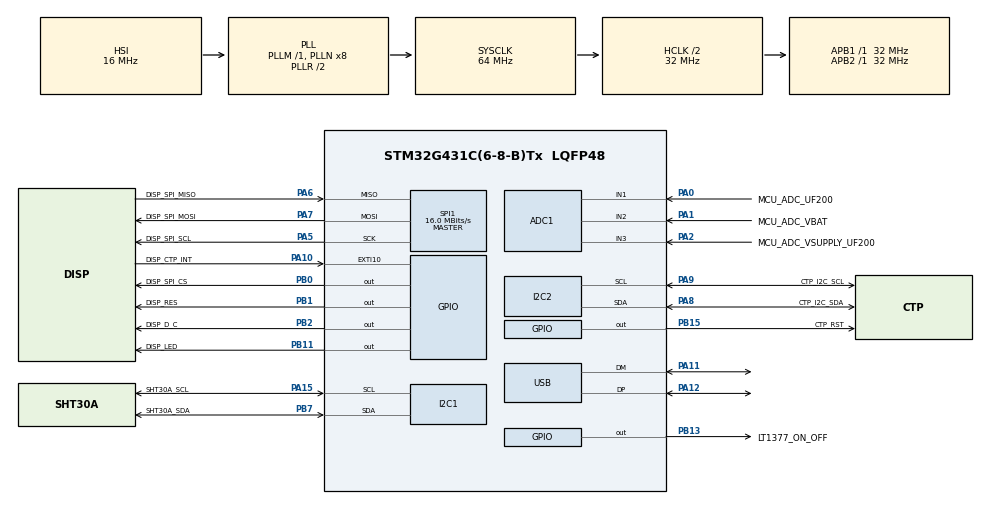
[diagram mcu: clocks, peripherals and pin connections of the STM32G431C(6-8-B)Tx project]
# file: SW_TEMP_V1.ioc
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ADC1.Channel-1\#ChannelRegularConversion=ADC_CHANNEL_1
ADC1.Channel-2\#ChannelRegularConversion=ADC_CHANNEL_2
ADC1.Channel-3\#ChannelRegularConversion=ADC_CHANNEL_3
ADC1.ContinuousConvMode=ENABLE
ADC1.DMAContinuousRequests=ENABLE
ADC1.EnableRegularConversion=ENABLE
ADC1.NbrOfConversion=3
ADC1.NbrOfConversionFlag=1
ADC1.OffsetNumber-1\#ChannelRegularConversion=ADC_OFFSET_NONE
ADC1.OffsetNumber-2\#ChannelRegularConversion=ADC_OFFSET_NONE
ADC1.OffsetNumber-3\#ChannelRegularConversion=ADC_OFFSET_NONE
ADC1.Overrun=ADC_OVR_DATA_OVERWRITTEN
ADC1.OversamplingMode=ENABLE
ADC1.Rank-1\#ChannelRegularConversion=1
ADC1.Rank-2\#ChannelRegularConversion=2
ADC1.Rank-3\#ChannelRegularConversion=3
ADC1.Ratio=ADC_OVERSAMPLING_RATIO_16
ADC1.RightBitShift=ADC_RIGHTBITSHIFT_4
ADC1.SamplingTime-1\#ChannelRegularConversion=ADC_SAMPLETIME_247CYCLES_5
ADC1.SamplingTime-2\#ChannelRegularConversion=ADC_SAMPLETIME_247CYCLES_5
ADC1.SamplingTime-3\#ChannelRegularConversion=ADC_SAMPLETIME_247CYCLES_5
ADC1.master=1
Dma.ADC1.0.Direction=DMA_PERIPH_TO_MEMORY
Dma.ADC1.0.EventEnable=DISABLE
Dma.ADC1.0.Instance=DMA1_Channel1
Dma.ADC1.0.MemDataAlignment=DMA_MDATAALIGN_HALFWORD
Dma.ADC1.0.MemInc=DMA_MINC_ENABLE
Dma.ADC1.0.Mode=DMA_CIRCULAR
Dma.ADC1.0.PeriphDataAlignment=DMA_PDATAALIGN_HALFWORD
Dma.ADC1.0.PeriphInc=DMA_PINC_DISABLE
Dma.ADC1.0.Polarity=HAL_DMAMUX_REQ_GEN_RISING
Dma.ADC1.0.Priority=DMA_PRIORITY_VERY_HIGH
Dma.ADC1.0.RequestNumber=1
Dma.ADC1.0.SignalID=NONE
Dma.ADC1.0.SyncEnable=DISABLE
Dma.ADC1.0.SyncPolarity=HAL_DMAMUX_SYNC_NO_EVENT
Dma.ADC1.0.SyncRequestNumber=1
Dma.ADC1.0.SyncSignalID=NONE
Dma.Request0=ADC1
I2C1.NoStretchMode=I2C_NOSTRETCH_ENABLE
I2C1.Timing=0x00B07CB4
I2C2.Timing=0x00B07CB4
Mcu.Family=STM32G4
Mcu.Name=STM32G431C(6-8-B)Tx
Mcu.Package=LQFP48
NVIC.DMA1_Channel1_IRQn=true\:0\:0\:false\:true\:true\:1\:false\:true\:true
NVIC.EXTI15_10_IRQn=true\:0\:0\:false\:true\:true\:2\:true\:true\:true
NVIC.PriorityGroup=NVIC_PRIORITYGROUP_4
NVIC.USB_LP_IRQn=true\:0\:0\:false\:false\:true\:false\:true\:true
PA0.GPIO_Label=MCU_ADC_UF200
PA0.Mode=IN1-Single-Ended
PA0.Signal=ADC1_IN1
PA1.GPIO_Label=MCU_ADC_VBAT
PA1.Mode=IN2-Single-Ended
PA1.Signal=ADC1_IN2
PA10.GPIO_Label=DISP_CTP_INT
PA10.GPIO_ModeDefaultEXTI=GPIO_MODE_IT_FALLING
PA10.GPIO_PuPd=GPIO_NOPULL
PA10.Signal=GPXTI10
PA11.Mode=Device
PA11.Signal=USB_DM
PA12.Mode=Device
PA12.Signal=USB_DP
PA13.Mode=Serial_Wire
PA13.Signal=SYS_JTMS-SWDIO
PA14.Mode=Serial_Wire
PA14.Signal=SYS_JTCK-SWCLK
PA15.GPIO_Label=SHT30A_SCL
PA15.GPIO_Pu=GPIO_PULLUP
PA15.GPIO_Speed=GPIO_SPEED_FREQ_HIGH
PA15.Mode=I2C
PA15.Signal=I2C1_SCL
PA2.GPIO_Label=MCU_ADC_VSUPPLY_UF200
PA2.Mode=IN3-Single-Ended
PA2.Signal=ADC1_IN3
PA5.GPIO_Label=DISP_SPI_SCL
PA5.GPIO_Speed=GPIO_SPEED_FREQ_HIGH
PA5.Mode=Full_Duplex_Master
PA5.Signal=SPI1_SCK
PA6.GPIO_Label=DISP_SPI_MISO
PA6.GPIO_Speed=GPIO_SPEED_FREQ_HIGH
PA6.Mode=Full_Duplex_Master
PA6.Signal=SPI1_MISO
PA7.GPIO_Label=DISP_SPI_MOSI
PA7.Mode=Full_Duplex_Master
PA7.Signal=SPI1_MOSI
PA8.GPIO_Label=CTP_I2C_SDA
PA8.GPIO_Pu=GPIO_PULLUP
PA8.GPIO_Speed=GPIO_SPEED_FREQ_HIGH
PA8.Mode=I2C
PA8.Signal=I2C2_SDA
PA9.GPIO_Label=CTP_I2C_SCL
PA9.GPIO_Pu=GPIO_PULLUP
PA9.GPIO_Speed=GPIO_SPEED_FREQ_HIGH
PA9.Mode=I2C
PA9.Signal=I2C2_SCL
PB0.GPIO_Label=DISP_SPI_CS
PB0.GPIO_Speed=GPIO_SPEED_FREQ_HIGH
PB0.Signal=GPIO_Output
PB1.GPIO_Label=DISP_RES
PB1.GPIO_Speed=GPIO_SPEED_FREQ_HIGH
PB1.Signal=GPIO_Output
PB11.GPIO_Label=DISP_LED
PB11.GPIO_Speed=GPIO_SPEED_FREQ_HIGH
PB11.Signal=GPIO_Output
PB13.GPIO_Label=LT1377_ON_OFF
PB13.GPIO_Speed=GPIO_SPEED_FREQ_HIGH
PB13.PinState=GPIO_PIN_RESET
PB13.Signal=GPIO_Output
PB15.GPIO_Label=CTP_RST
PB15.GPIO_Speed=GPIO_SPEED_FREQ_HIGH
PB15.Signal=GPIO_Output
PB2.GPIO_Label=DISP_D_C
PB2.GPIO_Speed=GPIO_SPEED_FREQ_HIGH
PB2.Signal=GPIO_Output
PB7.GPIO_Label=SHT30A_SDA
PB7.GPIO_Pu=GPIO_PULLUP
PB7.GPIO_Speed=GPIO_SPEED_FREQ_HIGH
PB7.Mode=I2C
PB7.Signal=I2C1_SDA
PC13.Mode=SYS_WakeUp1
PC13.Signal=SYS_WKUP2
ProjectManager.HeapSize=0x200
ProjectManager.StackSize=0x400
ProjectManager.TargetToolchain=STM32CubeIDE
RCC.ADC12Freq_Value=64000000
RCC.AHBCLKDivider=RCC_SYSCLK_DIV2
RCC.AHBFreq_Value=32000000
RCC.APB1Freq_Value=32000000
RCC.APB1TimFreq_Value=32000000
RCC.APB2Freq_Value=32000000
RCC.APB2TimFreq_Value=32000000
RCC.CK48CLockSelection=RCC_USBCLKSOURCE_HSI48
RCC.CortexFreq_Value=32000000
RCC.EXTERNAL_CLOCK_VALUE=12288000
RCC.HCLKFreq_Value=32000000
RCC.HSE_VALUE=8000000
RCC.HSI48_VALUE=48000000
RCC.HSI_VALUE=16000000
RCC.LSE_VALUE=32768
RCC.SYSCLKFreq_VALUE=64000000
RCC.SYSCLKSource=RCC_SYSCLKSOURCE_PLLCLK
RCC.USBFreq_Value=48000000
RCC.VCOOutputFreq_Value=128000000
SPI1.CalculateBaudRate=16.0 MBits/s
SPI1.DataSize=SPI_DATASIZE_8BIT
SPI1.Direction=SPI_DIRECTION_2LINES
SPI1.Mode=SPI_MODE_MASTER
SPI1.VirtualType=VM_MASTER
SYS.VoltageScaling=SYSCFG_VREFBUF_VOLTAGE_SCALE1
USB_DEVICE.CLASS_NAME_FS=CDC
USB_DEVICE.VirtualMode=Cdc
USB_DEVICE.VirtualModeFS=Cdc_FS
VP_SYS_VS_DBSignals.Mode=DisableDeadBatterySignals
VP_USB_DEVICE_VS_USB_DEVICE_CDC_FS.Mode=CDC_FS
VREF+.Mode=InternalMode
VREF+.Signal=VREFBUF_OUT
board=custom

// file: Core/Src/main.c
/* USER CODE BEGIN Header */
/*------------------------------------------------------------------------------
Project information's:
        Project:    Temp_Measuring_SW_IPA_V1
        Author:     SPY
        Date:       21.10.2024
        IDE:        STM32CubeIDE 1.14.0
        Version:    1.0
------------------------------------------------------------------------------*/
/* USER CODE END Header */
#include "main.h"
#include "usb_device.h"

/* USER CODE BEGIN Includes */
#include <math.h>               /* for pow() */
#include "sht3x.h"              /* for external temperature sensor */
#include "ili9341.h"            /* for display */
#include "FT6236.h"             /* for touch panel */
#include "stdio.h"              /* for sprintf() */
/* USER CODE END Includes */

/* USER CODE BEGIN PTD */
typedef enum menu_temp_measuring {
    START_MENU,
    HOME_MENU,
    TEMP_MENU,
    TEMP_UF200,
    TEMP_SHT30,
    VOLTAGE_MENU,
    SETTINGS_MENU
}Menu_TempMeasuring_TypeDef;

/* USER CODE END PTD */

/* USER CODE BEGIN PD */
/* ----------------------- ADC -------------------------------- */
#define ADC_NR_OF_CHANNELS              3
#define ADC_NR_OF_CAPTURED_VALUES       10
#define ADC_BUFFER_SIZE                 (ADC_NR_OF_CHANNELS * ADC_NR_OF_CAPTURED_VALUES)
#define ADC_VREF                        2.5
#define ADC_MAX_NR                      4096

/* ----------------------- SUPPLY_UF200 ----------------------- */
#define SUPPLY_UF200_ON                 HAL_GPIO_WritePin(LT1377_ON_OFF_GPIO_Port, LT1377_ON_OFF_Pin, SET); HAL_Delay(1);
#define SUPPLY_UF200_OFF                HAL_GPIO_WritePin(LT1377_ON_OFF_GPIO_Port, LT1377_ON_OFF_Pin, RESET); HAL_Delay(1);
#define STATE_LT1377                    HAL_GPIO_ReadPin(LT1377_ON_OFF_GPIO_Port, LT1377_ON_OFF_Pin)

/* ----------------------- STANDBY_MODE ----------------------- */
#define ENTER_STANDBY_MODE              HAL_PWR_EnterSTANDBYMode();

/* ----------------------- DISPLAY --------------------------- */
#define DISPLAY_BACKLIGHT_ON            HAL_GPIO_WritePin(DISP_LED_GPIO_Port, DISP_LED_Pin, SET); HAL_Delay(1);
#define DISPLAY_BACKLIGHT_OFF           HAL_GPIO_WritePin(DISP_LED_GPIO_Port, DISP_LED_Pin, RESET); HAL_Delay(1);

/* ----------------------- VOLTAGE TO DISTANCE ---------------- */
#define DISTANCE_FUNC(voltage)          (1.52204 * voltage + 118.90031)

/* ----------------------- TOUCH AREAs ------------------------ */
/* --------- HOME --------- */
#define BUTTON_TEMP_TOUCHED             (20 < ctp_touch.x1 && ctp_touch.x1 < 220 && 70 < ctp_touch.y1 && ctp_touch.y1 < 120)
#define BUTTON_VOLTAGE_TOUCHED          (20 < ctp_touch.x1 && ctp_touch.x1 < 220 && 135 < ctp_touch.y1 && ctp_touch.y1 < 185)
#define BUTTON_SETTINGS_TOUCHED         (20 < ctp_touch.x1 && ctp_touch.x1 < 220 && 200 < ctp_touch.y1 && ctp_touch.y1 < 250)
/* --------- TEMP --------- */
#define BUTTON_UF200_TOUCHED            (60 < ctp_touch.x1 && ctp_touch.x1 < 180 && 80 < ctp_touch.y1 && ctp_touch.y1 < 140)
#define BUTTON_SHT30_TOUCHED            (60 < ctp_touch.x1 && ctp_touch.x1 < 180 && 170 < ctp_touch.y1 && ctp_touch.y1 < 230)
/* ------- SETTINGS ------- */
#define BUTTON_LT1377_TOUCHED           (60 < ctp_touch.x1 && ctp_touch.x1 < 180 && 80 < ctp_touch.y1 && ctp_touch.y1 < 140)
#define BUTTON_STANDBY_TOUCHED          (60 < ctp_touch.x1 && ctp_touch.x1 < 180 && 170 < ctp_touch.y1 && ctp_touch.y1 < 230)
/* --------- EXIT --------- */
#define BUTTON_EXIT_TOUCHED             (80 < ctp_touch.x1 && ctp_touch.x1 < 160 && 270 < ctp_touch.y1 && ctp_touch.y1 < 310)

/* USER CODE END PD */

ADC_HandleTypeDef hadc1;
DMA_HandleTypeDef hdma_adc1;

I2C_HandleTypeDef hi2c1;
I2C_HandleTypeDef hi2c2;

SPI_HandleTypeDef hspi1;

/* USER CODE BEGIN PV */
sht3x_handle_t handle = {
    .i2c_handle = &hi2c1,
    .device_address = SHT3X_I2C_DEVICE_ADDRESS_ADDR_PIN_LOW
};

/* ---------- ADC1 ---------- */
volatile uint16_t adc1_measurement[ADC_BUFFER_SIZE];

/* -------- Voltages -------- */
volatile float volt_uf200;
volatile float volt_vbat;
volatile float volt_supply_uf200;

/* ------- Distance --------- */
volatile float distance_uf200;

/* ------ Temperatures ------ */
volatile float temp_uf200;
float temp_sht30a;
float humidity_sht30a;

/* ---------- ENUM ---------- */
enum ADC1_ARRAY {
    ADC_UF200 = 0,
    ADC_VBAT = 1,
    ADC_SUPPLY_UF200 = 2,
    ADC_TEMP = 3
};

enum STRING_ARRAY {
    TEMP_UF200_STRING = 0,
    TEMP_SHT30_STRING = 1,
    HUMITY_SHT30_STRING = 2
};

/* ------ String --------- */
char voltage_Data_String[3][16] = {};
char temp_Data_String[3][16] = {};

/* USER CODE END PV */

void SystemClock_Config(void);
static void MX_GPIO_Init(void);
static void MX_DMA_Init(void);
static void MX_I2C1_Init(void);
static void MX_ADC1_Init(void);
static void MX_I2C2_Init(void);
static void MX_SPI1_Init(void);
static void MX_NVIC_Init(void);
/* USER CODE BEGIN PFP */
/* ------ format functions ------ */
volatile void format_voltage_value(float value, const char* unit, char* formatted_string, size_t size);
volatile void format_temp_value(float value, const char* unit, char* formatted_string, size_t size);
/* ------ display functions ------ */
void Dispaly_EXIT_BUTTON();
void Dispaly_HOME_MENU();
void Dispaly_TEMP_MENU();
void Dispaly_UF200_MENU();
void Dispaly_SHT30_MENU();
void Dispaly_VOLTAGE_MENU();
void Dispaly_SETTINGS_MENU();
/* ------ update functions ------ */
void Update_Dispaly_UF200_MENU();
void Update_Dispaly_SHT30_MENU();
void Update_Dispaly_VOLTAGE_MENU();
/* ------ toggle functions ------ */
void TOGGLE_LT1377();
/* ------ calculate functions ------ */
volatile float calculate_polynomial(float x);
/* USER CODE END PFP */

/* USER CODE BEGIN 0 */
volatile float calculate_temp(float x) {
    float x2 = x * x;         // x^2
    float x3 = x2 * x;        // x^3
    float x4 = x3 * x;        // x^4

    return 0.0000393460875 * x4
           - 0.023479315484 * x3
           + 5.2439117826509 * x2
           - 523.030559479747 * x
           + 19723.208350605753;
}

void HAL_ADC_ConvCpltCallback(ADC_HandleTypeDef* hadc) {
    if (hadc->Instance == ADC1) {
        /* -------------------- Channel 1 MCU_ADC_UF200 -------------------- */
        /* calculate the average of the captured values */
        for (int i = 1; i < ADC_NR_OF_CAPTURED_VALUES; ++i) {
            adc1_measurement[ADC_UF200] += adc1_measurement[i * 3];
        }
        adc1_measurement[ADC_UF200] /= ADC_NR_OF_CAPTURED_VALUES;

        /* convert digital value to voltage value */
        volt_uf200 = ADC_VREF * 4.0669456 * adc1_measurement[ADC_UF200] / ADC_MAX_NR * 1.089230769;
        volt_uf200 = 0.0003 * (volt_uf200*volt_uf200) + 0.9009 * (volt_uf200) + 0.145;
        /* ----------------------------------------------------------------- */

        /* ---------------------- Distance calculation --------------------- */
        distance_uf200 = DISTANCE_FUNC(volt_uf200);
        /* ----------------------------------------------------------------- */

        /* -------------------- Temperature calculation -------------------- */
        temp_uf200 = calculate_temp(distance_uf200);
        /* ----------------------------------------------------------------- */

        /* -------------------- Channel 2 MCU_ADC_VBAT --------------------- */
        /* calculate the average of the captured values */
        for (int i = 1; i < ADC_NR_OF_CAPTURED_VALUES; ++i) {
            adc1_measurement[ADC_VBAT] += adc1_measurement[i * 3 + 1];
        }
        adc1_measurement[ADC_VBAT] /= ADC_NR_OF_CAPTURED_VALUES;

        /* convert digital value to voltage value */
        volt_vbat = ADC_VREF * 1.4202773 * adc1_measurement[ADC_VBAT] / ADC_MAX_NR * 1.0039816;
        /* ----------------------------------------------------------------- */

        /* -------------------- Channel 3  MCU_SUPPLY_UF200 ---------------- */
        /* calculate the average of the captured values */
        for (int i = 1; i < ADC_NR_OF_CAPTURED_VALUES; ++i) {
            adc1_measurement[ADC_SUPPLY_UF200] += adc1_measurement[i * 3 + 2];
        }
        adc1_measurement[ADC_SUPPLY_UF200] /= ADC_NR_OF_CAPTURED_VALUES;

        /* convert digital value to voltage value */
        volt_supply_uf200 = ADC_VREF * 6.0570739 * adc1_measurement[ADC_SUPPLY_UF200] / ADC_MAX_NR * 1.0035293;
        /* ----------------------------------------------------------------- */

    }
}
/* USER CODE END 0 */

int main(void)
{

  /* MCU Configuration--------------------------------------------------------*/

  /* Reset of all peripherals, Initializes the Flash interface and the Systick. */
  HAL_Init();

  /* Configure the system clock */
  SystemClock_Config();

  /* Initialize all configured peripherals */
  MX_GPIO_Init();
  MX_DMA_Init();
  MX_I2C1_Init();
  MX_ADC1_Init();
  MX_I2C2_Init();
  MX_SPI1_Init();
  MX_USB_Device_Init();

  /* Initialize interrupts */
  MX_NVIC_Init();
  /* USER CODE BEGIN 2 */

  /* ------------- create & declare menu_of_device ------------ */
  Menu_TempMeasuring_TypeDef menu_of_device = HOME_MENU;

  /* ------------------- initialize display ------------------- */
  DISPLAY_BACKLIGHT_OFF
  ILI9341_Init();
  ILI9341_InvertColors(1);
  DISPLAY_BACKLIGHT_ON

  /* ----------------- initialize touch panel ----------------- */
  ft6236_init();

  /* -------------------- turn on LT1377 -------------------- */
  TOGGLE_LT1377();

  /* ------------------- draw home menu ------------------- */
  ILI9341_FillRectangle(0, 0, 240, 320, ILI9341_BLACK);
  ILI9341_FillRectangle(0, 58, 240, 3, ILI9341_WHITE);
  Dispaly_HOME_MENU();

  /* ----------------- start DMA conversion ----------------- */
  HAL_ADC_Start_DMA(&hadc1, (uint32_t*)adc1_measurement, ADC_BUFFER_SIZE);

  /* -------------- initialize temperature sensor ------------- */
  if (!sht3x_init(&handle)) {
  }

  sht3x_set_header_enable(&handle, false);

  /* USER CODE END 2 */

  /* Infinite loop */
  while (1)
  {

    /* USER CODE BEGIN 3 */
     /* read touch panel */
      if(!ctp_touch.ok) {

                ctp_touch.x1 = 0;
                ctp_touch.y1 = 0;
                ft6236_read();
      }
    /* read temperature and humidity */
      sht3x_read_temperature_and_humidity(&handle, &temp_sht30a, &humidity_sht30a);

    /* menu navigation */
      switch (menu_of_device) {
        case START_MENU:

            if(ctp_touch.x1 > 0 && ctp_touch.y1 > 0 ) {
                Dispaly_HOME_MENU();
                menu_of_device = HOME_MENU;
            }

            break;

        case HOME_MENU:

            /* SETTINGS-MENU */
            if(BUTTON_SETTINGS_TOUCHED) {
                Dispaly_SETTINGS_MENU();
                menu_of_device = SETTINGS_MENU;
            }

            /* TEMP-MENU */
            if(BUTTON_TEMP_TOUCHED) {
                Dispaly_TEMP_MENU();
                menu_of_device = TEMP_MENU;
            }

            /* VOLTAGE-MENU */
            if(BUTTON_VOLTAGE_TOUCHED) {
                Dispaly_VOLTAGE_MENU();
                menu_of_device = VOLTAGE_MENU;
            }

            break;

        case SETTINGS_MENU:
            /* LT1377 ON/OFF */
            if(BUTTON_LT1377_TOUCHED) {
                TOGGLE_LT1377();
            }

            /* Exit / back to HOME */
            if(BUTTON_EXIT_TOUCHED) {
                Dispaly_HOME_MENU();
                menu_of_device = HOME_MENU;
            }

            /* if(BUTTON_STANDBY_TOUCHED) {
                __HAL_PWR_CLEAR_FLAG(PWR_FLAG_WU);
                __HAL_PWR_CLEAR_FLAG(PWR_FLAG_SB);
                HAL_PWREx_EnableGPIOPullUp(PWR_GPIO_A, GPIO_PIN_10);
                HAL_PWREx_EnableGPIOPullUp(PWR_GPIO_A, GPIO_PIN_9);
                HAL_PWREx_EnableGPIOPullUp(PWR_GPIO_A, GPIO_PIN_8);
                HAL_PWREx_EnablePullUpPullDownConfig();
                HAL_PWR_EnableWakeUpPin(PWR_WAKEUP_PIN2_LOW);
                HAL_PWR_EnterSTANDBYMode();
            } */
            break;

        case TEMP_MENU:
            /* switch to TEMP_UF200 */
            if(BUTTON_UF200_TOUCHED) {
                Dispaly_UF200_MENU();
                menu_of_device = TEMP_UF200;
            }

            /* switch to TEMP_SHT30 */
            if(BUTTON_SHT30_TOUCHED) {
                Dispaly_SHT30_MENU();
                menu_of_device = TEMP_SHT30;
            }

            /* Exit / back to HOME */
            if(BUTTON_EXIT_TOUCHED) {
                Dispaly_HOME_MENU();
                menu_of_device = HOME_MENU;
            }

            break;

        case TEMP_UF200:
            /* update display */
            Update_Dispaly_UF200_MENU();

            /* Exit / back to HOME */
            if(BUTTON_EXIT_TOUCHED) {
                Dispaly_HOME_MENU();
                menu_of_device = HOME_MENU;
            }

            break;

        case TEMP_SHT30:
            /* update display */
            Update_Dispaly_SHT30_MENU();

            /* Exit / back to HOME */
            if(BUTTON_EXIT_TOUCHED) {
                Dispaly_HOME_MENU();
                menu_of_device = HOME_MENU;
            }

            break;

        case VOLTAGE_MENU:
            /* update display */
            Update_Dispaly_VOLTAGE_MENU();

            /* Exit / back to HOME */
            if(BUTTON_EXIT_TOUCHED) {
                Dispaly_HOME_MENU();
                menu_of_device = HOME_MENU;
            }

            break;
        default:
            break;
    }

  }
  /* USER CODE END 3 */
}

void SystemClock_Config(void)
{
  RCC_OscInitTypeDef RCC_OscInitStruct = {0};
  RCC_ClkInitTypeDef RCC_ClkInitStruct = {0};

  /** Configure the main internal regulator output voltage
  */
  HAL_PWREx_ControlVoltageScaling(PWR_REGULATOR_VOLTAGE_SCALE1);

  /** Initializes the RCC Oscillators according to the specified parameters
  * in the RCC_OscInitTypeDef structure.
  */
  RCC_OscInitStruct.OscillatorType = RCC_OSCILLATORTYPE_HSI|RCC_OSCILLATORTYPE_HSI48;
  RCC_OscInitStruct.HSIState = RCC_HSI_ON;
  RCC_OscInitStruct.HSICalibrationValue = RCC_HSICALIBRATION_DEFAULT;
  RCC_OscInitStruct.HSI48State = RCC_HSI48_ON;
  RCC_OscInitStruct.PLL.PLLState = RCC_PLL_ON;
  RCC_OscInitStruct.PLL.PLLSource = RCC_PLLSOURCE_HSI;
  RCC_OscInitStruct.PLL.PLLM = RCC_PLLM_DIV1;
  RCC_OscInitStruct.PLL.PLLN = 8;
  RCC_OscInitStruct.PLL.PLLP = RCC_PLLP_DIV2;
  RCC_OscInitStruct.PLL.PLLQ = RCC_PLLQ_DIV2;
  RCC_OscInitStruct.PLL.PLLR = RCC_PLLR_DIV2;
  if (HAL_RCC_OscConfig(&RCC_OscInitStruct) != HAL_OK)
  {
    Error_Handler();
  }

  /** Initializes the CPU, AHB and APB buses clocks
  */
  RCC_ClkInitStruct.ClockType = RCC_CLOCKTYPE_HCLK|RCC_CLOCKTYPE_SYSCLK
                              |RCC_CLOCKTYPE_PCLK1|RCC_CLOCKTYPE_PCLK2;
  RCC_ClkInitStruct.SYSCLKSource = RCC_SYSCLKSOURCE_PLLCLK;
  RCC_ClkInitStruct.AHBCLKDivider = RCC_SYSCLK_DIV2;
  RCC_ClkInitStruct.APB1CLKDivider = RCC_HCLK_DIV1;
  RCC_ClkInitStruct.APB2CLKDivider = RCC_HCLK_DIV1;

  if (HAL_RCC_ClockConfig(&RCC_ClkInitStruct, FLASH_LATENCY_1) != HAL_OK)
  {
    Error_Handler();
  }
}

/**
  * @brief NVIC Configuration.
  * @retval None
  */
static void MX_NVIC_Init(void)
{
  /* DMA1_Channel1_IRQn interrupt configuration */
  HAL_NVIC_SetPriority(DMA1_Channel1_IRQn, 0, 0);
  HAL_NVIC_EnableIRQ(DMA1_Channel1_IRQn);
  /* EXTI15_10_IRQn interrupt configuration */
  HAL_NVIC_SetPriority(EXTI15_10_IRQn, 0, 0);
  HAL_NVIC_EnableIRQ(EXTI15_10_IRQn);
}

static void MX_ADC1_Init(void)
{

  ADC_MultiModeTypeDef multimode = {0};
  ADC_ChannelConfTypeDef sConfig = {0};

  /** Common config
  */
  hadc1.Instance = ADC1;
  hadc1.Init.ClockPrescaler = ADC_CLOCK_SYNC_PCLK_DIV2;
  hadc1.Init.Resolution = ADC_RESOLUTION_12B;
  hadc1.Init.DataAlign = ADC_DATAALIGN_RIGHT;
  hadc1.Init.GainCompensation = 0;
  hadc1.Init.ScanConvMode = ADC_SCAN_ENABLE;
  hadc1.Init.EOCSelection = ADC_EOC_SINGLE_CONV;
  hadc1.Init.LowPowerAutoWait = DISABLE;
  hadc1.Init.ContinuousConvMode = ENABLE;
  hadc1.Init.NbrOfConversion = 3;
  hadc1.Init.DiscontinuousConvMode = DISABLE;
  hadc1.Init.ExternalTrigConv = ADC_SOFTWARE_START;
  hadc1.Init.ExternalTrigConvEdge = ADC_EXTERNALTRIGCONVEDGE_NONE;
  hadc1.Init.DMAContinuousRequests = ENABLE;
  hadc1.Init.Overrun = ADC_OVR_DATA_OVERWRITTEN;
  hadc1.Init.OversamplingMode = ENABLE;
  hadc1.Init.Oversampling.Ratio = ADC_OVERSAMPLING_RATIO_16;
  hadc1.Init.Oversampling.RightBitShift = ADC_RIGHTBITSHIFT_4;
  hadc1.Init.Oversampling.TriggeredMode = ADC_TRIGGEREDMODE_SINGLE_TRIGGER;
  hadc1.Init.Oversampling.OversamplingStopReset = ADC_REGOVERSAMPLING_CONTINUED_MODE;
  if (HAL_ADC_Init(&hadc1) != HAL_OK)
  {
    Error_Handler();
  }

  /** Configure the ADC multi-mode
  */
  multimode.Mode = ADC_MODE_INDEPENDENT;
  if (HAL_ADCEx_MultiModeConfigChannel(&hadc1, &multimode) != HAL_OK)
  {
    Error_Handler();
  }

  /** Configure Regular Channel
  */
  sConfig.Channel = ADC_CHANNEL_1;
  sConfig.Rank = ADC_REGULAR_RANK_1;
  sConfig.SamplingTime = ADC_SAMPLETIME_247CYCLES_5;
  sConfig.SingleDiff = ADC_SINGLE_ENDED;
  sConfig.OffsetNumber = ADC_OFFSET_NONE;
  sConfig.Offset = 0;
  if (HAL_ADC_ConfigChannel(&hadc1, &sConfig) != HAL_OK)
  {
    Error_Handler();
  }

  /** Configure Regular Channel
  */
  sConfig.Channel = ADC_CHANNEL_2;
  sConfig.Rank = ADC_REGULAR_RANK_2;
  if (HAL_ADC_ConfigChannel(&hadc1, &sConfig) != HAL_OK)
  {
    Error_Handler();
  }

  /** Configure Regular Channel
  */
  sConfig.Channel = ADC_CHANNEL_3;
  sConfig.Rank = ADC_REGULAR_RANK_3;
  if (HAL_ADC_ConfigChannel(&hadc1, &sConfig) != HAL_OK)
  {
    Error_Handler();
  }

}

static void MX_I2C1_Init(void)
{

  hi2c1.Instance = I2C1;
  hi2c1.Init.Timing = 0x00B07CB4;
  hi2c1.Init.OwnAddress1 = 0;
  hi2c1.Init.AddressingMode = I2C_ADDRESSINGMODE_7BIT;
  hi2c1.Init.DualAddressMode = I2C_DUALADDRESS_DISABLE;
  hi2c1.Init.OwnAddress2 = 0;
  hi2c1.Init.OwnAddress2Masks = I2C_OA2_NOMASK;
  hi2c1.Init.GeneralCallMode = I2C_GENERALCALL_DISABLE;
  hi2c1.Init.NoStretchMode = I2C_NOSTRETCH_ENABLE;
  if (HAL_I2C_Init(&hi2c1) != HAL_OK)
  {
    Error_Handler();
  }

  /** Configure Analogue filter
  */
  if (HAL_I2CEx_ConfigAnalogFilter(&hi2c1, I2C_ANALOGFILTER_ENABLE) != HAL_OK)
  {
    Error_Handler();
  }

  /** Configure Digital filter
  */
  if (HAL_I2CEx_ConfigDigitalFilter(&hi2c1, 0) != HAL_OK)
  {
    Error_Handler();
  }

}

static void MX_I2C2_Init(void)
{

  hi2c2.Instance = I2C2;
  hi2c2.Init.Timing = 0x00B07CB4;
  hi2c2.Init.OwnAddress1 = 0;
  hi2c2.Init.AddressingMode = I2C_ADDRESSINGMODE_7BIT;
  hi2c2.Init.DualAddressMode = I2C_DUALADDRESS_DISABLE;
  hi2c2.Init.OwnAddress2 = 0;
  hi2c2.Init.OwnAddress2Masks = I2C_OA2_NOMASK;
  hi2c2.Init.GeneralCallMode = I2C_GENERALCALL_DISABLE;
  hi2c2.Init.NoStretchMode = I2C_NOSTRETCH_DISABLE;
  if (HAL_I2C_Init(&hi2c2) != HAL_OK)
  {
    Error_Handler();
  }

  /** Configure Analogue filter
  */
  if (HAL_I2CEx_ConfigAnalogFilter(&hi2c2, I2C_ANALOGFILTER_ENABLE) != HAL_OK)
  {
    Error_Handler();
  }

  /** Configure Digital filter
  */
  if (HAL_I2CEx_ConfigDigitalFilter(&hi2c2, 0) != HAL_OK)
  {
    Error_Handler();
  }

}

static void MX_SPI1_Init(void)
{

  /* SPI1 parameter configuration*/
  hspi1.Instance = SPI1;
  hspi1.Init.Mode = SPI_MODE_MASTER;
  hspi1.Init.Direction = SPI_DIRECTION_2LINES;
  hspi1.Init.DataSize = SPI_DATASIZE_8BIT;
  hspi1.Init.CLKPolarity = SPI_POLARITY_LOW;
  hspi1.Init.CLKPhase = SPI_PHASE_1EDGE;
  hspi1.Init.NSS = SPI_NSS_SOFT;
  hspi1.Init.BaudRatePrescaler = SPI_BAUDRATEPRESCALER_2;
  hspi1.Init.FirstBit = SPI_FIRSTBIT_MSB;
  hspi1.Init.TIMode = SPI_TIMODE_DISABLE;
  hspi1.Init.CRCCalculation = SPI_CRCCALCULATION_DISABLE;
  hspi1.Init.CRCPolynomial = 7;
  hspi1.Init.CRCLength = SPI_CRC_LENGTH_DATASIZE;
  hspi1.Init.NSSPMode = SPI_NSS_PULSE_ENABLE;
  if (HAL_SPI_Init(&hspi1) != HAL_OK)
  {
    Error_Handler();
  }

}

static void MX_DMA_Init(void)
{

  /* DMA controller clock enable */
  __HAL_RCC_DMAMUX1_CLK_ENABLE();
  __HAL_RCC_DMA1_CLK_ENABLE();

}

static void MX_GPIO_Init(void)
{
  GPIO_InitTypeDef GPIO_InitStruct = {0};

  /* GPIO Ports Clock Enable */
  __HAL_RCC_GPIOC_CLK_ENABLE();
  __HAL_RCC_GPIOA_CLK_ENABLE();
  __HAL_RCC_GPIOB_CLK_ENABLE();

  /*Configure GPIO pin Output Level */
  HAL_GPIO_WritePin(GPIOB, DISP_SPI_CS_Pin|DISP_RES_Pin|DISP_D_C_Pin|DISP_LED_Pin
                          |LT1377_ON_OFF_Pin|CTP_RST_Pin, GPIO_PIN_RESET);

  /*Configure GPIO pins : DISP_SPI_CS_Pin DISP_RES_Pin DISP_D_C_Pin DISP_LED_Pin
                           LT1377_ON_OFF_Pin CTP_RST_Pin */
  GPIO_InitStruct.Pin = DISP_SPI_CS_Pin|DISP_RES_Pin|DISP_D_C_Pin|DISP_LED_Pin
                          |LT1377_ON_OFF_Pin|CTP_RST_Pin;
  GPIO_InitStruct.Mode = GPIO_MODE_OUTPUT_PP;
  GPIO_InitStruct.Pull = GPIO_NOPULL;
  GPIO_InitStruct.Speed = GPIO_SPEED_FREQ_HIGH;
  HAL_GPIO_Init(GPIOB, &GPIO_InitStruct);

  /*Configure GPIO pin : DISP_CTP_INT_Pin */
  GPIO_InitStruct.Pin = DISP_CTP_INT_Pin;
  GPIO_InitStruct.Mode = GPIO_MODE_IT_FALLING;
  GPIO_InitStruct.Pull = GPIO_NOPULL;
  HAL_GPIO_Init(DISP_CTP_INT_GPIO_Port, &GPIO_InitStruct);

}

/* USER CODE BEGIN 4 */

/*------------------------------------------------------------------------------
Function name:  format_voltage_value
Input:          float value, const char* unit, char* formatted_string, size_t size
Output:         void
Author:         SPY
Date:           21.11.2024
Version:        1.0
Function description:
This function formats the voltage value to a string.
The value is rounded to 3 decimal places.
The unit is added to the end of the string.
-------------------------------------------------------------------------------*/
volatile void format_voltage_value(float value, const char* unit, char* formatted_string, size_t size) {
    if (value  < 10) {
        snprintf(formatted_string, size, " %2.3f %s", value, unit); // @suppress("Float formatting support")
    } else {
        snprintf(formatted_string, size, "%2.3f %s", value, unit); // @suppress("Float formatting support")
    }
}

/*------------------------------------------------------------------------------
Function name:  format_temp_value
Input:          float value, const char* unit, char* formatted_string, size_t size
Output:         void
Author:         SPY
Date:           21.11.2024
Version:        1.0
Function description:
This function formats the temperature value to a string.
The value is rounded to 2 decimal places.
The unit is added to the end of the string.
-------------------------------------------------------------------------------*/
volatile void format_temp_value(float value, const char* unit, char* formatted_string, size_t size) {
    if (value  < 10 && value  >= 0) {
        snprintf(formatted_string, size, "  %2.2f %s", value, unit); // @suppress("Float formatting support")
    } else if (value > 0) {
        snprintf(formatted_string, size, " %2.2f %s", value, unit); // @suppress("Float formatting support")
    } else {
        snprintf(formatted_string, size, "%2.2f %s", value, unit); // @suppress("Float formatting support")
    }
}

/*------------------------------------------------------------------------------
Function name:  Dispaly_EXIT_BUTTON
Input:          void
Output:         void
Author:         SPY
Date:           21.11.2024
Version:        1.0
Function description:
This function displays the EXIT button on the display.
-------------------------------------------------------------------------------*/
void Dispaly_EXIT_BUTTON() {
    ILI9341_FillRectangle(80, 270, 80, 40,ILI9341_COLOR565(77,77,77));
    ILI9341_WriteString(98, 281, "EXIT", Font_11x18, ILI9341_WHITE, ILI9341_COLOR565(77,77,77));

}

/*------------------------------------------------------------------------------
Function name:  Dispaly_HOME_MENU
Input:          void
Output:         void
Author:         SPY
Date:           21.11.2024
Version:        1.0
Function description:
This function displays the HOME menu on the display.
-------------------------------------------------------------------------------*/
void Dispaly_HOME_MENU() {
    ILI9341_FillRectangle(20, 10, 220, 40, ILI9341_BLACK);
    ILI9341_WriteString(98, 20, "HOME", Font_11x18, ILI9341_WHITE, ILI9341_BLACK);
    ILI9341_FillRectangle(20, 70, 200, 50, ILI9341_COLOR565(77,77,77));
    ILI9341_FillRectangle(20, 120, 200, 15, ILI9341_BLACK);
    ILI9341_FillRectangle(20, 135, 200, 50, ILI9341_COLOR565(77,77,77));
    ILI9341_FillRectangle(20, 185, 200, 15, ILI9341_BLACK);
    ILI9341_FillRectangle(20, 200, 200, 50, ILI9341_COLOR565(77,77,77));
    ILI9341_FillRectangle(20, 250, 200, 65, ILI9341_BLACK);
    ILI9341_WriteString(60, 86, "Temperature", Font_11x18, ILI9341_WHITE, ILI9341_COLOR565(77,77,77));
    ILI9341_WriteString(80, 151, "Voltage", Font_11x18, ILI9341_WHITE, ILI9341_COLOR565(77,77,77));
    ILI9341_WriteString(80, 216, "Settings", Font_11x18, ILI9341_WHITE, ILI9341_COLOR565(77,77,77));
}

/*------------------------------------------------------------------------------
Function name:  Dispaly_TEMP_MENU
Input:          void
Output:         void
Author:         SPY
Date:           21.11.2024
Version:        1.0
Function description:
This function displays the TEMP menu on the display, where the user can choose between UF200 and SHT30.
-------------------------------------------------------------------------------*/
void Dispaly_TEMP_MENU() {
    ILI9341_FillRectangle(20, 10, 220, 40, ILI9341_BLACK);
    ILI9341_WriteString(60, 20, "Temperature", Font_11x18, ILI9341_WHITE, ILI9341_BLACK);
    ILI9341_FillRectangle(19, 69, 202, 182, ILI9341_BLACK);
    ILI9341_FillRectangle(60, 80, 120, 60, ILI9341_COLOR565(77,77,77));
    ILI9341_WriteString(93, 101, "UF200", Font_11x18, ILI9341_WHITE, ILI9341_COLOR565(77,77,77));
    ILI9341_FillRectangle(60, 170, 120, 60, ILI9341_COLOR565(77,77,77));
    ILI9341_WriteString(93, 191, "SHT30", Font_11x18, ILI9341_WHITE, ILI9341_COLOR565(77,77,77));
    Dispaly_EXIT_BUTTON();
}

/*------------------------------------------------------------------------------
Function name:  Dispaly_UF200_MENU
Input:          void
Output:         void
Author:         SPY
Date:           21.11.2024
Version:        1.0
Function description:
This function displays the UF200 menu on the display.
-------------------------------------------------------------------------------*/
void Dispaly_UF200_MENU() {
    ILI9341_FillRectangle(19, 69, 202, 182, ILI9341_BLACK);
    ILI9341_FillRectangle(59, 119, 122, 72, ILI9341_WHITE);
    ILI9341_FillRectangle(60, 120, 120, 70, ILI9341_BLACK);
    ILI9341_WriteString(93, 124, "UF200", Font_11x18, ILI9341_WHITE, ILI9341_BLACK);
    ILI9341_FillRectangle(60, 146, 120, 1, ILI9341_WHITE);
}

/*------------------------------------------------------------------------------
Function name:  Update_Dispaly_UF200_MENU
Input:          void
Output:         void
Author:         SPY
Date:           21.11.2024
Version:        1.0
Function description:
This function updates the UF200 menu on the display.
-------------------------------------------------------------------------------*/
void Update_Dispaly_UF200_MENU(){
    format_temp_value(temp_uf200, "#C", temp_Data_String[TEMP_UF200_STRING], 16);
    ILI9341_WriteString(70, 160, temp_Data_String[TEMP_UF200_STRING], Font_11x18, ILI9341_WHITE, ILI9341_BLACK);
}

/*------------------------------------------------------------------------------
Function name:  Dispaly_SHT30_MENU
Input:          void
Output:         void
Author:         SPY
Date:           21.11.2024
Version:        1.0
Function description:
This function displays the SHT30 menu on the display.
-------------------------------------------------------------------------------*/
void Dispaly_SHT30_MENU() {
    ILI9341_FillRectangle(19, 69, 202, 182, ILI9341_BLACK);
    ILI9341_FillRectangle(59, 119, 122, 99, ILI9341_WHITE);
    ILI9341_FillRectangle(60, 120, 120, 97, ILI9341_BLACK);
    ILI9341_FillRectangle(60, 183, 120, 1, ILI9341_WHITE);
    ILI9341_WriteString(93, 124, "SHT30", Font_11x18, ILI9341_WHITE, ILI9341_BLACK);
    ILI9341_FillRectangle(60, 146, 120, 1, ILI9341_WHITE);

}

/*------------------------------------------------------------------------------
Function name:  Update_Dispaly_SHT30_MENU
Input:          void
Output:         void
Author:         SPY
Date:           21.11.2024
Version:        1.0
Function description:
This function updates the SHT30 menu on the display.
-------------------------------------------------------------------------------*/
void Update_Dispaly_SHT30_MENU(){
    format_temp_value(temp_sht30a, "#C", temp_Data_String[TEMP_SHT30_STRING], 16);
    format_temp_value(humidity_sht30a, "%", temp_Data_String[HUMITY_SHT30_STRING], 16);
    ILI9341_WriteString(70, 156, temp_Data_String[TEMP_SHT30_STRING], Font_11x18, ILI9341_WHITE, ILI9341_BLACK);
    ILI9341_WriteString(70, 190, temp_Data_String[HUMITY_SHT30_STRING], Font_11x18, ILI9341_WHITE, ILI9341_BLACK);
}

/*------------------------------------------------------------------------------
Function name:  Dispaly_VOLTAGE_MENU
Input:          void
Output:         void
Author:         SPY
Date:           21.11.2024
Version:        1.0
Function description:
This function displays the VOLTAGE menu on the display.
-------------------------------------------------------------------------------*/
void Dispaly_VOLTAGE_MENU() {
    ILI9341_FillRectangle(20, 10, 220, 40, ILI9341_BLACK);
    ILI9341_WriteString(81, 20, "VOLTAGE", Font_11x18, ILI9341_WHITE, ILI9341_BLACK);
    ILI9341_FillRectangle(19, 69, 202, 182, ILI9341_BLACK);
    ILI9341_FillRectangle(20, 100, 189, 76, ILI9341_WHITE);
    ILI9341_FillRectangle(21, 101, 187, 74, ILI9341_BLACK);
    ILI9341_FillRectangle(21, 126, 187, 1, ILI9341_WHITE);
    ILI9341_FillRectangle(21, 151, 187, 1, ILI9341_WHITE);
    ILI9341_WriteString(25, 105, "UF200", Font_11x18, ILI9341_WHITE, ILI9341_BLACK);
    ILI9341_WriteString(25, 131, "LT1377", Font_11x18, ILI9341_WHITE, ILI9341_BLACK);
    ILI9341_WriteString(25, 155, "BAT/3V3", Font_11x18, ILI9341_WHITE, ILI9341_BLACK);
    ILI9341_FillRectangle(107, 100, 1, 76, ILI9341_WHITE);
    Dispaly_EXIT_BUTTON();
}

/*------------------------------------------------------------------------------
Function name:  Update_Dispaly_VOLTAGE_MENU
Input:          void
Output:         void
Author:         SPY
Date:           21.11.2024
Version:        1.0
Function description:
This function updates the VOLTAGE menu on the display.
-------------------------------------------------------------------------------*/
void Update_Dispaly_VOLTAGE_MENU(){
    format_voltage_value(volt_uf200, "V", voltage_Data_String[ADC_UF200], 16);
    format_voltage_value(volt_supply_uf200, "V", voltage_Data_String[ADC_SUPPLY_UF200], 16);
    format_voltage_value(volt_vbat, "V", voltage_Data_String[ADC_VBAT], 16);

    ILI9341_WriteString(113, 105, voltage_Data_String[ADC_UF200], Font_11x18, ILI9341_WHITE, ILI9341_BLACK);
    ILI9341_WriteString(113, 131, voltage_Data_String[ADC_SUPPLY_UF200], Font_11x18, ILI9341_WHITE, ILI9341_BLACK);
    ILI9341_WriteString(113, 155, voltage_Data_String[ADC_VBAT], Font_11x18, ILI9341_WHITE, ILI9341_BLACK);
}

/*------------------------------------------------------------------------------
Function name:  Dispaly_SETTINGS_MENU
Input:          void
Output:         void
Author:         SPY
Date:           21.11.2024
Version:        1.0
Function description:
This function displays the SETTINGS menu on the display.
-------------------------------------------------------------------------------*/
void Dispaly_SETTINGS_MENU() {
    ILI9341_FillRectangle(20, 10, 220, 40, ILI9341_BLACK);
    ILI9341_WriteString(76, 20, "SETTINGS", Font_11x18, ILI9341_WHITE, ILI9341_BLACK);
    ILI9341_FillRectangle(19, 69, 202, 182, ILI9341_BLACK);
    ILI9341_FillRectangle(60, 170, 120, 60, ILI9341_COLOR565(77,77,77));
    ILI9341_WriteString(82, 191, "Standby", Font_11x18, ILI9341_WHITE, ILI9341_COLOR565(77,77,77));

    if (STATE_LT1377 == 1) {
         ILI9341_FillRectangle(60, 80, 120, 60, ILI9341_GREEN);
         ILI9341_WriteString(93, 90, "UF200", Font_11x18, ILI9341_BLACK, ILI9341_GREEN);
         ILI9341_WriteString(109, 110, "ON", Font_11x18, ILI9341_BLACK, ILI9341_GREEN);

     } else {
         ILI9341_FillRectangle(60, 80, 120, 60, ILI9341_RED);
         ILI9341_WriteString(93, 90, "UF200", Font_11x18, ILI9341_BLACK, ILI9341_RED);
         ILI9341_WriteString(104, 110, "OFF", Font_11x18, ILI9341_BLACK, ILI9341_RED);

     }
    Dispaly_EXIT_BUTTON();
}

/*------------------------------------------------------------------------------
Function name:  TOGGLE_LT1377
Input:          void
Output:         void
Author:         SPY
Date:           21.11.2024
Version:        1.0
Function description:
This function toggles the LT1377 on/off and updates the display.
-------------------------------------------------------------------------------*/
void TOGGLE_LT1377() {
    HAL_GPIO_TogglePin(LT1377_ON_OFF_GPIO_Port, LT1377_ON_OFF_Pin);
    HAL_Delay(1);
    if (STATE_LT1377 == 1) {
         ILI9341_FillRectangle(60, 80, 120, 60, ILI9341_GREEN);
         ILI9341_WriteString(93, 90, "UF200", Font_11x18, ILI9341_BLACK, ILI9341_GREEN);
         ILI9341_WriteString(109, 110, "ON", Font_11x18, ILI9341_BLACK, ILI9341_GREEN);

     } else {
         ILI9341_FillRectangle(60, 80, 120, 60, ILI9341_RED);
         ILI9341_WriteString(93, 90, "UF200", Font_11x18, ILI9341_BLACK, ILI9341_RED);
         ILI9341_WriteString(104, 110, "OFF", Font_11x18, ILI9341_BLACK, ILI9341_RED);

     }
}

/* USER CODE END 4 */

void Error_Handler(void)
{
  __disable_irq();
  while (1)
  {
  }
}
